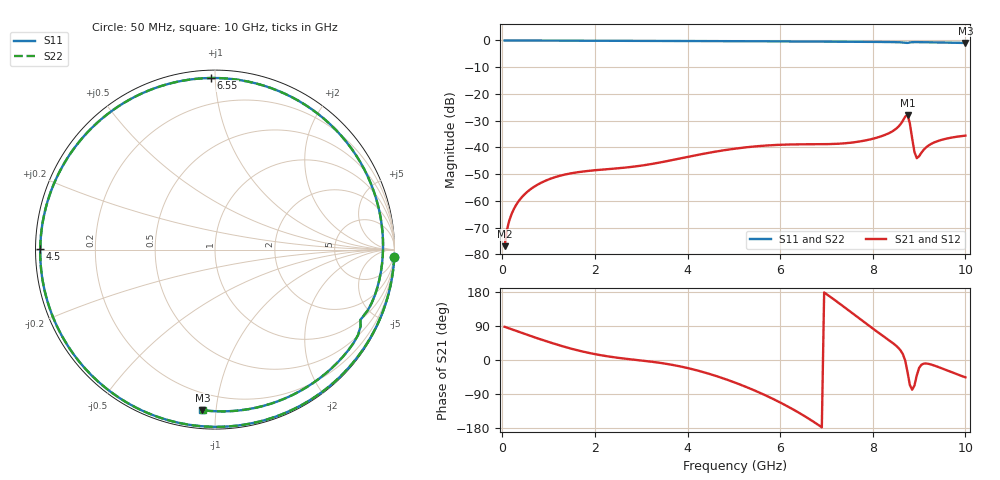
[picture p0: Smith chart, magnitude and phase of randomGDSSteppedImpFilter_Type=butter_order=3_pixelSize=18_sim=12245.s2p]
! freq	dB(S11)	phase(S11)	dB(S12)	phase(S12)
!  dB(S21)	phase(S21)	dB(S22)	phase(S22)
!S-par simulation data
#  GHz  S  DB  R 50
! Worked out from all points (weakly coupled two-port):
!   200 points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, 50 MHz to 10 GHz, reference 50 ohm
!   highest |S21| = -27.87 dB at 8.75 GHz (marker M1); lowest = -77.0 dB at 50 MHz (marker M2)
!   lowest |S11| = -0.9 dB at 10 GHz (marker M3), VSWR 18.49, Z = 5 - j46 ohm
!   |S11| at or under -10 dB: nowhere
!   |S22| runs from -0.9 to 0.0 dB; largest |S21 - S12| = 0
!   S11 on the Smith chart (normalised r, x): 50 MHz: 0, -51; 4.5 GHz: 0.01, +0.00; 6.55 GHz: 0.04, +0.98; 10 GHz: 0.10, -0.92
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0.05  -0.00 -2.2  -76.96 87.6  -76.96 87.6  -0.00 -2.2
0.1  -0.01 -4.5  -70.94 85.5  -70.94 85.5  -0.01 -4.5
0.2  -0.01 -8.9  -64.96 81.1  -64.96 81.1  -0.01 -8.9
0.5  -0.03 -22.1  -57.24 68.0  -57.24 68.0  -0.03 -22.1
1  -0.06 -43.8  -51.99 47.7  -51.99 47.7  -0.06 -43.8
1.75  -0.09 -75.1  -49.01 21.9  -49.01 21.9  -0.09 -75.1
2.55  -0.13 -106.7  -47.74 5.0  -47.74 5.0  -0.13 -106.7
3.4  -0.17 -138.8  -45.67 -7.4  -45.67 -7.4  -0.17 -138.8
4.5  -0.23 179.7  -41.90 -37.7  -41.90 -37.7  -0.23 179.7
5.05  -0.27 158.0  -40.42 -60.8  -40.42 -60.8  -0.27 158.0
5.9  -0.33 121.8  -39.10 -105.9  -39.10 -105.9  -0.33 121.8
6.55  -0.39 91.3  -38.84 -149.8  -38.84 -149.8  -0.39 91.2
6.7  -0.40 83.8  -38.83 -161.3  -38.83 -161.3  -0.40 83.8
7.15  -0.44 60.7  -38.72 160.9  -38.72 160.9  -0.44 60.7
7.65  -0.49 33.8  -37.97 114.9  -37.97 114.9  -0.49 33.8
8.35  -0.59 -5.0  -34.69 52.3  -34.69 52.3  -0.59 -5.0
8.75  -0.92 -25.8  -27.87 -31.6  -27.87 -31.6  -0.92 -25.8
8.8  -0.76 -27.7  -30.98 -65.6  -30.98 -65.6  -0.76 -27.7
8.9  -0.62 -34.0  -41.77 -67.5  -41.77 -67.5  -0.62 -34.0
8.95  -0.62 -37.0  -44.04 -40.8  -44.04 -40.8  -0.62 -36.9
9.3  -0.71 -56.5  -38.35 -13.4  -38.35 -13.4  -0.71 -56.4
10  -0.94 -94.5  -35.61 -45.8  -35.61 -45.8  -0.94 -94.4
